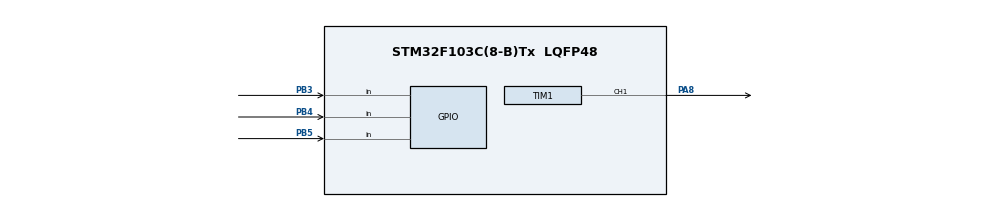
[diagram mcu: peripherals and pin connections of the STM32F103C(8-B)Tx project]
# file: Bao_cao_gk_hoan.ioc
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Mcu.Family=STM32F1
Mcu.Name=STM32F103C(8-B)Tx
Mcu.Package=LQFP48
NVIC.PriorityGroup=NVIC_PRIORITYGROUP_4
PA13.Mode=Serial_Wire
PA13.Signal=SYS_JTMS-SWDIO
PA14.Mode=Serial_Wire
PA14.Signal=SYS_JTCK-SWCLK
PA8.Signal=S_TIM1_CH1
PB3.GPIO_Mode=GPIO_MODE_INPUT
PB3.GPIO_PuPd=GPIO_PULLUP
PB3.Signal=GPIO_Input
PB4.GPIO_Mode=GPIO_MODE_INPUT
PB4.GPIO_PuPd=GPIO_PULLUP
PB4.Signal=GPIO_Input
PB5.GPIO_Mode=GPIO_MODE_INPUT
PB5.GPIO_PuPd=GPIO_PULLUP
PB5.Signal=GPIO_Input
PD0-OSC_IN.Mode=HSE-External-Oscillator
PD0-OSC_IN.Signal=RCC_OSC_IN
PD1-OSC_OUT.Mode=HSE-External-Oscillator
PD1-OSC_OUT.Signal=RCC_OSC_OUT
ProjectManager.HeapSize=0x200
ProjectManager.StackSize=0x400
ProjectManager.TargetToolchain=MDK-ARM V5.32
RCC.APB1Freq_Value=8000000
RCC.APB2Freq_Value=8000000
SH.S_TIM1_CH1.0=TIM1_CH1,PWM Generation1 CH1
TIM1.Channel-PWM\ Generation1\ CH1=TIM_CHANNEL_1
TIM1.Period=999
TIM1.Prescaler=7
TIM1.Pulse-PWM\ Generation1\ CH1=999
VP_TIM1_VS_ClockSourceINT.Mode=Internal
board=custom

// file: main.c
/* USER CODE BEGIN Header */
/**
  ******************************************************************************
  * @file           : main.c
  * @brief          : Main program body
  ******************************************************************************
  * @attention
  *
  * Copyright (c) 2025 STMicroelectronics.
  * All rights reserved.
  *
  * This software is licensed under terms that can be found in the LICENSE file
  * in the root directory of this software component.
  * If no LICENSE file comes with this software, it is provided AS-IS.
  *
  ******************************************************************************
  */
/* USER CODE END Header */
#include "main.h"
#include "lcd_16x2.h"
TIM_HandleTypeDef htim1;

/* USER CODE BEGIN PV */
uint16_t duty = 999;
int8_t dir = -1;
uint16_t fadeTime = 5000;
uint8_t pause = 0;
uint32_t lastUpdate = 0;
float step;
/* USER CODE END PV */

void SystemClock_Config(void);
static void MX_GPIO_Init(void);
static void MX_TIM1_Init(void);

int main(void)
{

  /* MCU Configuration--------------------------------------------------------*/

  /* Reset of all peripherals, Initializes the Flash interface and the Systick. */
  HAL_Init();

  /* Configure the system clock */
  SystemClock_Config();

  /* Initialize all configured peripherals */
  MX_GPIO_Init();
  MX_TIM1_Init();
  /* USER CODE BEGIN 2 */
	Lcd_Init();
	Lcd_clear_display();
  Lcd_gotoxy(0,0);
  Lcd_write_string("Led Fade PWM");
  Lcd_gotoxy(0,1);
  Lcd_write_string("Speed:");
  /* USER CODE END 2 */
	HAL_TIM_PWM_Start(&htim1, TIM_CHANNEL_1);
  /* Infinite loop */
  /* USER CODE BEGIN WHILE */
  while (1)
  {
		//pb3 tang fade time
		if (HAL_GPIO_ReadPin(GPIOB, GPIO_PIN_3) == GPIO_PIN_RESET) {
      if (fadeTime < 10000) fadeTime += 100;
      HAL_Delay(200);
    }
		// pb4 giam fade time
		if (HAL_GPIO_ReadPin(GPIOB, GPIO_PIN_4) == GPIO_PIN_RESET) {
      if (fadeTime > 200) fadeTime -= 100;
      HAL_Delay(200);
    }
		//pb5 pause/resume
		if (HAL_GPIO_ReadPin(GPIOB, GPIO_PIN_5) == GPIO_PIN_RESET) {
      pause = !pause;
      HAL_Delay(200);
			if (pause) {
        Lcd_clear_display();
        Lcd_gotoxy(0,0);
        Lcd_write_string("   PAUSED LED   ");
      } else {  Lcd_clear_display();
        Lcd_gotoxy(0,0);
        Lcd_write_string("Led Fade PWM");
        Lcd_gotoxy(0,1);
        Lcd_write_string("Speed:");
      }
    }
		// tinh buoc doi duty
		 step = 1000.0f / (fadeTime / 10.0f);
		 if (!pause) {
      if (HAL_GetTick() - lastUpdate >= 10) {
        lastUpdate = HAL_GetTick();

        __HAL_TIM_SET_COMPARE(&htim1, TIM_CHANNEL_1, duty);

        duty += dir * step;
				if (duty >= 999) { duty = 999; dir = -1; } // toi max thi min
        else if (duty <= 0) { duty = 0; dir = 1; } // toi min thi tang

        // cap nhat lcd
        Lcd_gotoxy(6,1);
        Lcd_write_int(fadeTime);
        Lcd_write_string(" ms ");
      }
    /* USER CODE END WHILE */
		}
  }
}

void SystemClock_Config(void)
{
  RCC_OscInitTypeDef RCC_OscInitStruct = {0};
  RCC_ClkInitTypeDef RCC_ClkInitStruct = {0};

  /** Initializes the RCC Oscillators according to the specified parameters
  * in the RCC_OscInitTypeDef structure.
  */
  RCC_OscInitStruct.OscillatorType = RCC_OSCILLATORTYPE_HSI;
  RCC_OscInitStruct.HSIState = RCC_HSI_ON;
  RCC_OscInitStruct.HSICalibrationValue = RCC_HSICALIBRATION_DEFAULT;
  RCC_OscInitStruct.PLL.PLLState = RCC_PLL_NONE;
  if (HAL_RCC_OscConfig(&RCC_OscInitStruct) != HAL_OK)
  {
    Error_Handler();
  }

  /** Initializes the CPU, AHB and APB buses clocks
  */
  RCC_ClkInitStruct.ClockType = RCC_CLOCKTYPE_HCLK|RCC_CLOCKTYPE_SYSCLK
                              |RCC_CLOCKTYPE_PCLK1|RCC_CLOCKTYPE_PCLK2;
  RCC_ClkInitStruct.SYSCLKSource = RCC_SYSCLKSOURCE_HSI;
  RCC_ClkInitStruct.AHBCLKDivider = RCC_SYSCLK_DIV1;
  RCC_ClkInitStruct.APB1CLKDivider = RCC_HCLK_DIV1;
  RCC_ClkInitStruct.APB2CLKDivider = RCC_HCLK_DIV1;

  if (HAL_RCC_ClockConfig(&RCC_ClkInitStruct, FLASH_LATENCY_0) != HAL_OK)
  {
    Error_Handler();
  }
}

static void MX_TIM1_Init(void)
{

  TIM_ClockConfigTypeDef sClockSourceConfig = {0};
  TIM_MasterConfigTypeDef sMasterConfig = {0};
  TIM_OC_InitTypeDef sConfigOC = {0};
  TIM_BreakDeadTimeConfigTypeDef sBreakDeadTimeConfig = {0};

  htim1.Instance = TIM1;
  htim1.Init.Prescaler = 7;
  htim1.Init.CounterMode = TIM_COUNTERMODE_UP;
  htim1.Init.Period = 999;
  htim1.Init.ClockDivision = TIM_CLOCKDIVISION_DIV1;
  htim1.Init.RepetitionCounter = 0;
  htim1.Init.AutoReloadPreload = TIM_AUTORELOAD_PRELOAD_DISABLE;
  if (HAL_TIM_Base_Init(&htim1) != HAL_OK)
  {
    Error_Handler();
  }
  sClockSourceConfig.ClockSource = TIM_CLOCKSOURCE_INTERNAL;
  if (HAL_TIM_ConfigClockSource(&htim1, &sClockSourceConfig) != HAL_OK)
  {
    Error_Handler();
  }
  if (HAL_TIM_PWM_Init(&htim1) != HAL_OK)
  {
    Error_Handler();
  }
  sMasterConfig.MasterOutputTrigger = TIM_TRGO_RESET;
  sMasterConfig.MasterSlaveMode = TIM_MASTERSLAVEMODE_DISABLE;
  if (HAL_TIMEx_MasterConfigSynchronization(&htim1, &sMasterConfig) != HAL_OK)
  {
    Error_Handler();
  }
  sConfigOC.OCMode = TIM_OCMODE_PWM1;
  sConfigOC.Pulse = 999;
  sConfigOC.OCPolarity = TIM_OCPOLARITY_HIGH;
  sConfigOC.OCNPolarity = TIM_OCNPOLARITY_HIGH;
  sConfigOC.OCFastMode = TIM_OCFAST_DISABLE;
  sConfigOC.OCIdleState = TIM_OCIDLESTATE_RESET;
  sConfigOC.OCNIdleState = TIM_OCNIDLESTATE_RESET;
  if (HAL_TIM_PWM_ConfigChannel(&htim1, &sConfigOC, TIM_CHANNEL_1) != HAL_OK)
  {
    Error_Handler();
  }
  sBreakDeadTimeConfig.OffStateRunMode = TIM_OSSR_DISABLE;
  sBreakDeadTimeConfig.OffStateIDLEMode = TIM_OSSI_DISABLE;
  sBreakDeadTimeConfig.LockLevel = TIM_LOCKLEVEL_OFF;
  sBreakDeadTimeConfig.DeadTime = 0;
  sBreakDeadTimeConfig.BreakState = TIM_BREAK_DISABLE;
  sBreakDeadTimeConfig.BreakPolarity = TIM_BREAKPOLARITY_HIGH;
  sBreakDeadTimeConfig.AutomaticOutput = TIM_AUTOMATICOUTPUT_DISABLE;
  if (HAL_TIMEx_ConfigBreakDeadTime(&htim1, &sBreakDeadTimeConfig) != HAL_OK)
  {
    Error_Handler();
  }
  HAL_TIM_MspPostInit(&htim1);

}

static void MX_GPIO_Init(void)
{
  GPIO_InitTypeDef GPIO_InitStruct = {0};

  /* GPIO Ports Clock Enable */
  __HAL_RCC_GPIOD_CLK_ENABLE();
  __HAL_RCC_GPIOA_CLK_ENABLE();
  __HAL_RCC_GPIOB_CLK_ENABLE();

  /*Configure GPIO pins : PB3 PB4 PB5 */
  GPIO_InitStruct.Pin = GPIO_PIN_3|GPIO_PIN_4|GPIO_PIN_5;
  GPIO_InitStruct.Mode = GPIO_MODE_INPUT;
  GPIO_InitStruct.Pull = GPIO_PULLUP;
  HAL_GPIO_Init(GPIOB, &GPIO_InitStruct);

}

void Error_Handler(void)
{
  __disable_irq();
  while (1)
  {
  }
}
